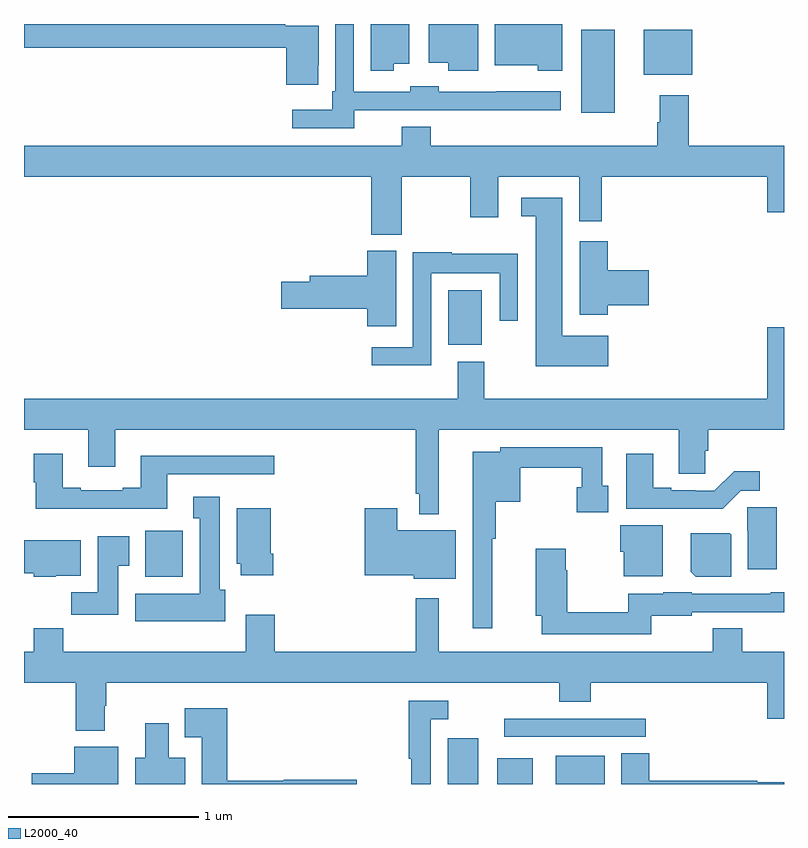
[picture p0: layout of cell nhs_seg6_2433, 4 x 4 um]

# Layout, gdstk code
import gdstk
lib = gdstk.Library(unit=1e-6, precision=1e-09)
def R(c, l, rs):  # rectangles x0, y0, x1, y1
    for r in rs: c.add(gdstk.rectangle(r[:2], r[2:], *l))
def P(c, l, *ps):  # polygons
    for p in ps: c.add(gdstk.Polygon(p, *l))
L2000_40 = (2000, 40)

nhs_seg6_2433 = lib.new_cell('nhs_seg6_2433')
R(nhs_seg6_2433, L2000_40, [(259.229,917.5,259.39,917.74), (259.49,917.5,259.678,917.635), (259.799,917.5,260.056,917.65), (259.527,917.748,260.272,917.844), (257.639,918.59,257.836,918.832), (259.232,919.811,259.408,920.098), (259.934,921.032,260.11,921.469), (260.261,921.233,260.518,921.469)])
P(nhs_seg6_2433, L2000_40, [(259.39,921.5),(259.13,921.5),(259.13,921.296),(259.233,921.296),(259.233,921.254),(259.39,921.254)],
  [(258.946,921.29),(259.027,921.29),(259.027,921.5),(258.824,921.5),(258.824,921.254),(258.946,921.254)],
  [(258.549,921.283),(258.55,921.283),(258.55,921.492),(258.374,921.492),(258.374,921.5),(257,921.5),(257,921.376),(258.38,921.376),(258.38,921.18),(258.549,921.18)],
  [(258.738,921.047),(259.825,921.047),(259.825,921.145),(259.486,921.145),(259.486,921.144),(259.182,921.144),(259.182,921.172),(259.032,921.172),(259.032,921.144),(258.735,921.144),(258.735,921.5),(258.639,921.5),(258.639,921.145),(258.623,921.145),(258.623,921.049),(258.411,921.049),(258.411,920.952),(258.738,920.952)],
  [(259.834,921.499),(259.478,921.499),(259.478,921.284),(259.705,921.284),(259.705,921.254),(259.834,921.254)],
  [(258.987,920.696),(259.348,920.696),(259.348,920.484),(259.495,920.484),(259.495,920.696),(259.922,920.696),(259.922,920.463),(260.041,920.463),(260.041,920.696),(260.912,920.696),(260.912,920.508),(261,920.508),(261,920.86),(260.498,920.86),(260.498,921.124),(260.345,921.124),(260.345,920.984),(260.333,920.984),(260.333,920.86),(259.142,920.86),(259.142,920.959),(258.989,920.959),(258.989,920.86),(257,920.86),(257,920.696),(258.827,920.696),(258.827,920.392),(258.987,920.392)],
  [(260.074,919.858),(259.834,919.858),(259.834,920.586),(259.617,920.586),(259.617,920.489),(259.694,920.489),(259.694,919.7),(260.074,919.7)],
  [(260.072,920.021),(260.287,920.021),(260.287,920.204),(260.072,920.204),(260.072,920.356),(259.925,920.356),(259.925,919.971),(260.072,919.971)],
  [(258.958,920.307),(258.806,920.307),(258.806,920.174),(258.503,920.174),(258.503,920.144),(258.354,920.144),(258.354,920.002),(258.806,920.002),(258.806,919.908),(258.958,919.908)],
  [(259.143,920.189),(259.503,920.189),(259.503,919.938),(259.599,919.938),(259.599,920.29),(259.25,920.29),(259.25,920.3),(259.047,920.3),(259.047,919.8),(258.831,919.8),(258.831,919.703),(259.143,919.703)],
  [(259.183,919.364),(260.447,919.364),(260.447,919.132),(260.586,919.132),(260.586,919.254),(260.6,919.254),(260.6,919.364),(261,919.364),(261,919.903),(260.912,919.903),(260.912,919.528),(259.423,919.528),(259.423,919.723),(259.283,919.723),(259.283,919.528),(257,919.528),(257,919.364),(257.339,919.364),(257.339,919.17),(257.479,919.17),(257.479,919.364),(259.062,919.364),(259.062,919.027),(259.079,919.027),(259.079,918.92),(259.183,918.92)],
  [(259.465,918.79),(259.483,918.79),(259.483,918.986),(259.612,918.986),(259.612,919.164),(259.935,919.164),(259.935,919.063),(259.909,919.063),(259.909,918.929),(260.074,918.929),(260.074,919.071),(260.043,919.071),(260.043,919.272),(259.506,919.272),(259.506,919.249),(259.361,919.249),(259.361,918.321),(259.465,918.321)],
  [(260.772,919.044),(260.872,919.044),(260.872,919.147),(260.737,919.147),(260.634,919.044),(260.534,919.044),(260.534,919.047),(260.407,919.047),(260.407,919.06),(260.311,919.06),(260.311,919.237),(260.171,919.237),(260.171,918.95),(260.677,918.95)],
  [(257.755,919.131),(258.316,919.131),(258.316,919.228),(257.615,919.228),(257.615,919.06),(257.519,919.06),(257.519,919.047),(257.299,919.047),(257.299,919.06),(257.203,919.06),(257.203,919.237),(257.051,919.237),(257.051,919.089),(257.063,919.089),(257.063,918.95),(257.755,918.95)],
  [(258.058,918.522),(258.031,918.522),(258.031,919.012),(257.891,919.012),(257.891,918.899),(257.924,918.899),(257.924,918.502),(257.585,918.502),(257.585,918.356),(258.058,918.356)],
  [(260.962,918.957),(260.806,918.957),(260.806,918.834),(260.81,918.834),(260.81,918.63),(260.962,918.63)],
  [(259.273,918.835),(258.964,918.835),(258.964,918.952),(258.794,918.952),(258.794,918.599),(259.05,918.599),(259.05,918.581),(259.273,918.581)],
  [(258.311,918.712),(258.298,918.712),(258.298,918.952),(258.119,918.952),(258.119,918.66),(258.14,918.66),(258.14,918.6),(258.311,918.6)],
  [(260.362,918.862),(260.138,918.862),(260.138,918.723),(260.156,918.723),(260.156,918.593),(260.362,918.593)],
  [(260.722,918.812),(260.714,918.82),(260.51,918.82),(260.51,918.616),(260.536,918.59),(260.722,918.59)],
  [(257.497,918.649),(257.554,918.649),(257.554,918.805),(257.387,918.805),(257.387,918.508),(257.248,918.508),(257.248,918.39),(257.497,918.39)],
  [(257.166,918.596),(257.299,918.596),(257.299,918.784),(257,918.784),(257,918.608),(257.052,918.608),(257.052,918.59),(257.166,918.59)],
  [(260.302,918.386),(260.514,918.386),(260.514,918.405),(260.931,918.405),(260.931,918.404),(261,918.404),(261,918.508),(260.931,918.508),(260.931,918.501),(260.514,918.501),(260.514,918.508),(260.364,918.508),(260.364,918.502),(260.181,918.502),(260.181,918.404),(259.86,918.404),(259.86,918.626),(259.852,918.626),(259.852,918.739),(259.694,918.739),(259.694,918.386),(259.724,918.386),(259.724,918.288),(260.302,918.288)],
  [(257.425,917.912),(257.433,917.912),(257.433,918.032),(259.817,918.032),(259.817,917.933),(259.982,917.933),(259.982,918.032),(260.912,918.032),(260.912,917.844),(261,917.844),(261,918.196),(260.781,918.196),(260.781,918.32),(260.626,918.32),(260.626,918.196),(259.183,918.196),(259.183,918.478),(259.062,918.478),(259.062,918.196),(258.32,918.196),(258.32,918.391),(258.167,918.391),(258.167,918.196),(257.207,918.196),(257.207,918.32),(257.051,918.32),(257.051,918.196),(257,918.196),(257,918.032),(257.273,918.032),(257.273,917.78),(257.425,917.78)],
  [(259.14,917.841),(259.234,917.841),(259.234,917.937),(259.024,917.937),(259.024,917.634),(259.039,917.634),(259.039,917.5),(259.14,917.5)],
  [(258.751,917.522),(258.366,917.522),(258.366,917.516),(258.071,917.516),(258.071,917.899),(257.846,917.899),(257.846,917.747),(257.936,917.747),(257.936,917.5),(258.751,917.5)],
  [(257.848,917.638),(257.761,917.638),(257.761,917.821),(257.639,917.821),(257.639,917.638),(257.585,917.638),(257.585,917.5),(257.848,917.5)],
  [(257.497,917.695),(257.264,917.695),(257.264,917.556),(257.04,917.556),(257.04,917.5),(257.497,917.5)],
  [(261,917.509),(260.858,917.509),(260.858,917.516),(260.291,917.516),(260.291,917.663),(260.144,917.663),(260.144,917.5),(261,917.5)])

lib.write_gds('nhs_seg6_2433.gds')
